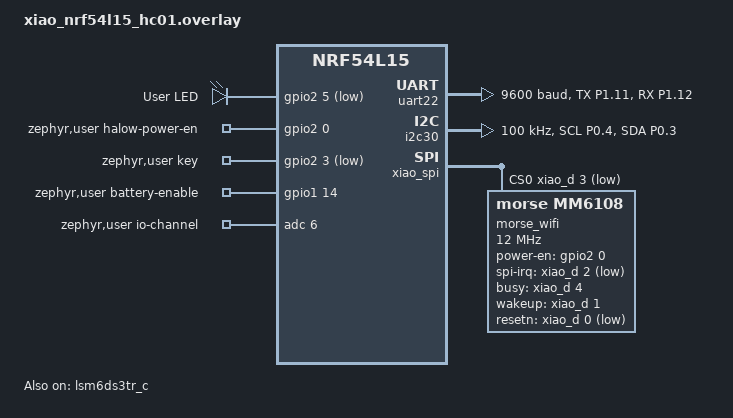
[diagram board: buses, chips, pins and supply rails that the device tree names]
#include <zephyr/dt-bindings/i2c/i2c.h>

/*
 * Heltec HC01 on the XIAO nRF54L15.
 *   HALOW_POWER_EN -> P2.00, active-high
 *   LED            -> P2.05, active-low
 *   KEY            -> P2.03, active-low with pull-up
 *   IMU_SCL        -> P0.04 (TWIM30 SCL)
 *   IMU_SDA        -> P0.03 (TWIM30 SDA)
 *   GPS_RXD        -> P1.11 (MCU UART TX) [temporary swapped-pin test]
 *   GPS_TXD        -> P1.12 (MCU UART RX) [temporary swapped-pin test]
 *   ADC_VBAT       -> P1.13 (AIN6, 100k/100k divider)
 *   ADC_VBAT_EN    -> P1.14 (active-high divider enable)
 */

/ {
	leds {
		compatible = "gpio-leds";

		user_led: user_led {
			gpios = <&gpio2 5 GPIO_ACTIVE_LOW>;
			label = "User LED";
		};
	};

	aliases {
		led0 = &user_led;
		imu0 = &lsm6ds3tr_c;
		gps0 = &uart22;
	};

	zephyr,user {
		halow-power-en-gpios = <&gpio2 0 GPIO_ACTIVE_HIGH>;
		key-gpios = <&gpio2 3 (GPIO_PULL_UP | GPIO_ACTIVE_LOW)>;
		battery-enable-gpios = <&gpio1 14 GPIO_ACTIVE_HIGH>;
		io-channels = <&adc 6>;
	};
};

&spi00_default {
	group1 {
		psels = <NRF_PSEL(SPIM_SCK, 2, 1)>,
			<NRF_PSEL(SPIM_MISO, 2, 4)>,
			<NRF_PSEL(SPIM_MOSI, 2, 2)>;
	};
};

&spi00_sleep {
	group1 {
		psels = <NRF_PSEL(SPIM_SCK, 2, 1)>,
			<NRF_PSEL(SPIM_MISO, 2, 4)>,
			<NRF_PSEL(SPIM_MOSI, 2, 2)>;
	};
};

&pinctrl {
	i2c30_default: i2c30_default {
		group1 {
			psels = <NRF_PSEL(TWIM_SCL, 0, 4)>,
				<NRF_PSEL(TWIM_SDA, 0, 3)>;
			bias-pull-up;
		};
	};

	i2c30_sleep: i2c30_sleep {
		group1 {
			psels = <NRF_PSEL(TWIM_SCL, 0, 4)>,
				<NRF_PSEL(TWIM_SDA, 0, 3)>;
			low-power-enable;
		};
	};

	gps_uart21_default: gps_uart21_default {
		group1 {
			psels = <NRF_PSEL(UART_TX, 1, 11)>;
		};

		group2 {
			psels = <NRF_PSEL(UART_RX, 1, 12)>;
			bias-pull-up;
		};
	};

	gps_uart21_sleep: gps_uart21_sleep {
		group1 {
			psels = <NRF_PSEL(UART_TX, 1, 11)>,
				<NRF_PSEL(UART_RX, 1, 12)>;
			low-power-enable;
		};
	};
};

/* Diagnostics use SEGGER RTT instead of the board UART. */
&uart20 {
	status = "disabled";
};

/delete-node/ &uart21;

&uart22 {
	status = "okay";
	current-speed = <9600>;
	pinctrl-0 = <&gps_uart21_default>;
	pinctrl-1 = <&gps_uart21_sleep>;
	pinctrl-names = "default", "sleep";
};

/delete-node/ &i2c22;

&i2c30 {
	status = "okay";
	pinctrl-0 = <&i2c30_default>;
	pinctrl-1 = <&i2c30_sleep>;
	pinctrl-names = "default", "sleep";
	clock-frequency = <I2C_BITRATE_STANDARD>;
};

/* The external IMU is routed through I2C30 on P0.04/P0.03. */
&lsm6ds3tr_c {
	status = "okay";
	zephyr,deferred-init;
};

&rfsw_ctl {
	status = "disabled";
};

&rfsw_pwr {
	status = "disabled";
};

&usr_btn {
	gpios = <&gpio2 3 (GPIO_PULL_UP | GPIO_ACTIVE_LOW)>;
	label = "KEY";
};

/*
 * Heltec HC01 / Morse MM6108 SPI interface:
 *   D3  -> P1.07 (CS)
 *   D8  -> P2.01 (SCK)
 *   D9  -> P2.04 (MISO)
 *   D10 -> P2.02 (MOSI)
 *   D2  -> P1.06 (IRQ)
 *   D4  -> P1.10 (BUSY)
 *   D1  -> P1.05 (WAKE)
 *   D0  -> P1.04 (RESETn)
 */
&xiao_spi {
	status = "okay";
	cs-gpios = <&xiao_d 3 GPIO_ACTIVE_LOW>;
	pinctrl-0 = <&spi00_default>;
	pinctrl-1 = <&spi00_sleep>;
	pinctrl-names = "default", "sleep";

	morse_wifi: morse@0 {
		status = "okay";
		compatible = "morse,mm6108";
		spi-max-frequency = <12000000>;
		reg = <0>;
		power-en-gpios = <&gpio2 0 GPIO_ACTIVE_HIGH>;

		spi-irq-gpios = <&xiao_d 2 GPIO_ACTIVE_LOW>;
		busy-gpios = <&xiao_d 4 (GPIO_ACTIVE_HIGH | GPIO_PULL_DOWN)>;
		wakeup-gpios = <&xiao_d 1 GPIO_ACTIVE_HIGH>;
		resetn-gpios = <&xiao_d 0 GPIO_ACTIVE_LOW>;
	};
};
